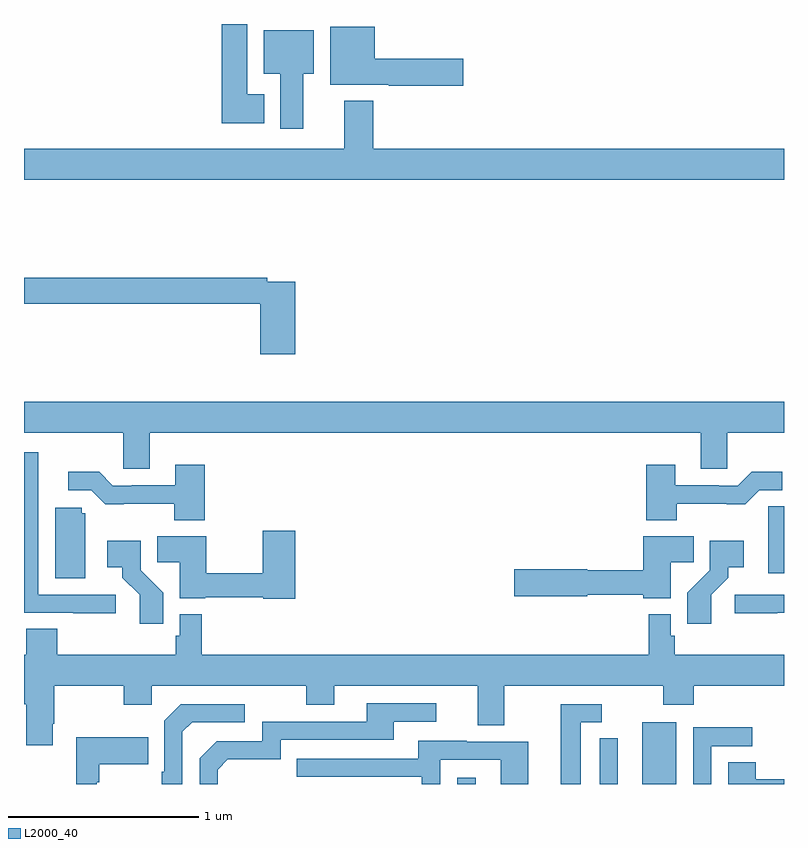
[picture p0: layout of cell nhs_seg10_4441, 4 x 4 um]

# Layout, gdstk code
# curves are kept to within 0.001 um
import gdstk
lib = gdstk.Library(unit=1e-6, precision=1e-09)
def R(c, l, rs):  # rectangles x0, y0, x1, y1
    for r in rs: c.add(gdstk.rectangle(r[:2], r[2:], *l))
def P(c, l, *ps):  # polygons
    for p in ps: c.add(gdstk.Polygon(p, *l))
L2000_40 = (2000, 40)

nhs_seg10_4441 = lib.new_cell('nhs_seg10_4441')
R(nhs_seg10_4441, L2000_40, [(365.28,1266.5,365.377,1266.532), (366.254,1266.5,366.433,1266.826)])
P(nhs_seg10_4441, L2000_40, [(364.264,1270.129),(364.174,1270.129),(364.174,1270.5),(364.04,1270.5),(364.04,1269.977),(364.264,1269.977)],
  [(365.311,1270.316),(364.846,1270.316),(364.846,1270.486),(364.613,1270.486),(364.613,1270.181),(364.921,1270.181),(364.921,1270.174),(365.311,1270.174)],
  [(364.471,1270.238),(364.525,1270.238),(364.525,1270.468),(364.262,1270.468),(364.262,1270.238),(364.349,1270.238),(364.349,1269.948),(364.471,1269.948)],
  [(367,1269.844),(364.838,1269.844),(364.838,1270.096),(364.685,1270.096),(364.685,1269.844),(363,1269.844),(363,1269.68),(367,1269.68)],
  [(364.427,1269.144),(364.28,1269.144),(364.28,1269.164),(363,1269.164),(363,1269.028),(364.244,1269.028),(364.244,1268.763),(364.427,1268.763)],
  [(363.661,1268.348),(366.563,1268.348),(366.563,1268.158),(366.702,1268.158),(366.702,1268.348),(367,1268.348),(367,1268.512),(363,1268.512),(363,1268.348),(363.522,1268.348),(363.522,1268.158),(363.661,1268.158)],
  [(363.484,1267.497),(363.075,1267.497),(363.075,1268.022),(363.076,1268.022),(363.076,1268.245),(363,1268.245),(363,1267.401),(363.259,1267.401),(363.259,1267.399),(363.484,1267.399)],
  [(366.435,1267.974),(366.797,1267.973),(366.87,1268.046),(366.991,1268.046),(366.991,1268.143),(366.829,1268.143),(366.756,1268.07),(366.656,1268.07),(366.656,1268.073),(366.427,1268.073),(366.427,1268.179),(366.275,1268.179),(366.275,1267.889),(366.435,1267.889)],
  [(363.95,1268.179),(363.797,1268.179),(363.797,1268.073),(363.568,1268.073),(363.568,1268.07),(363.468,1268.07),(363.395,1268.143),(363.234,1268.143),(363.234,1268.046),(363.354,1268.046),(363.427,1267.973),(363.79,1267.974),(363.79,1267.889),(363.95,1267.889)],
  [(367,1267.961),(366.918,1267.961),(366.918,1267.85),(366.917,1267.85),(366.917,1267.608),(367,1267.608)],
  [(363.322,1267.926),(363.303,1267.926),(363.303,1267.953),(363.164,1267.953),(363.164,1267.582),(363.322,1267.582)],
  [(364.427,1267.834),(364.256,1267.834),(364.256,1267.61),(363.958,1267.61),(363.958,1267.804),(363.7,1267.804),(363.7,1267.666),(363.821,1267.666),(363.821,1267.478),(363.954,1267.478),(363.954,1267.482),(364.26,1267.482),(364.26,1267.474),(364.427,1267.474)],
  [(366.403,1267.666),(366.524,1267.666),(366.524,1267.804),(366.259,1267.804),(366.259,1267.625),(365.964,1267.625),(365.964,1267.631),(365.58,1267.631),(365.58,1267.489),(365.964,1267.489),(365.964,1267.497),(366.259,1267.497),(366.259,1267.478),(366.403,1267.478)],
  [(363.734,1267.506),(363.615,1267.625),(363.615,1267.78),(363.438,1267.78),(363.438,1267.64),(363.518,1267.64),(363.518,1267.585),(363.609,1267.495),(363.609,1267.344),(363.734,1267.344)],
  [(366.616,1267.495),(366.706,1267.585),(366.706,1267.64),(366.787,1267.64),(366.787,1267.78),(366.609,1267.78),(366.609,1267.625),(366.49,1267.506),(366.49,1267.344),(366.616,1267.344)],
  [(366.965,1267.401),(367,1267.401),(367,1267.497),(366.741,1267.497),(366.741,1267.399),(366.965,1267.399)],
  [(363.151,1266.817),(363.159,1266.817),(363.159,1267.016),(363.526,1267.016),(363.526,1266.917),(363.672,1266.917),(363.672,1267.016),(364.486,1267.016),(364.486,1266.917),(364.633,1266.917),(364.633,1267.016),(365.387,1267.016),(365.387,1266.808),(365.527,1266.808),(365.527,1267.016),(366.364,1267.016),(366.364,1266.917),(366.524,1266.917),(366.524,1267.016),(367,1267.016),(367,1267.18),(366.425,1267.18),(366.425,1267.281),(366.405,1267.281),(366.405,1267.393),(366.289,1267.393),(366.289,1267.18),(363.935,1267.18),(363.935,1267.393),(363.819,1267.393),(363.819,1267.281),(363.799,1267.281),(363.799,1267.18),(363.176,1267.18),(363.176,1267.316),(363.011,1267.316),(363.011,1267.18),(363,1267.18),(363,1266.92),(363.011,1266.92),(363.011,1266.705),(363.151,1266.705)],
  [(364.02,1266.576),(364.073,1266.629),(364.35,1266.629),(364.35,1266.732),(364.945,1266.732),(364.945,1266.828),(365.17,1266.828),(365.17,1266.924),(364.805,1266.924),(364.805,1266.828),(364.254,1266.828),(364.254,1266.726),(364.014,1266.726),(363.924,1266.636),(363.924,1266.5),(364.02,1266.5)],
  [(363.834,1266.774),(363.885,1266.825),(364.162,1266.825),(364.162,1266.921),(363.825,1266.921),(363.738,1266.834),(363.738,1266.565),(363.726,1266.565),(363.726,1266.5),(363.834,1266.5)],
  [(365.929,1266.825),(366.04,1266.825),(366.04,1266.921),(365.825,1266.921),(365.825,1266.5),(365.929,1266.5)],
  [(366.618,1266.699),(366.832,1266.699),(366.832,1266.798),(366.522,1266.798),(366.522,1266.5),(366.618,1266.5)],
  [(363.384,1266.509),(363.397,1266.509),(363.397,1266.605),(363.653,1266.605),(363.653,1266.745),(363.276,1266.745),(363.276,1266.5),(363.384,1266.5)],
  [(366.125,1266.586),(366.126,1266.586),(366.126,1266.74),(366.03,1266.74),(366.03,1266.5),(366.125,1266.5)],
  [(365.19,1266.627),(365.508,1266.627),(365.508,1266.5),(365.653,1266.5),(365.653,1266.723),(365.329,1266.723),(365.329,1266.727),(365.075,1266.727),(365.075,1266.633),(364.435,1266.633),(364.435,1266.537),(365.094,1266.537),(365.094,1266.5),(365.19,1266.5)],
  [(367,1266.524),(366.851,1266.524),(366.851,1266.614),(366.707,1266.614),(366.707,1266.5),(367,1266.5)])

lib.write_gds('nhs_seg10_4441.gds')
